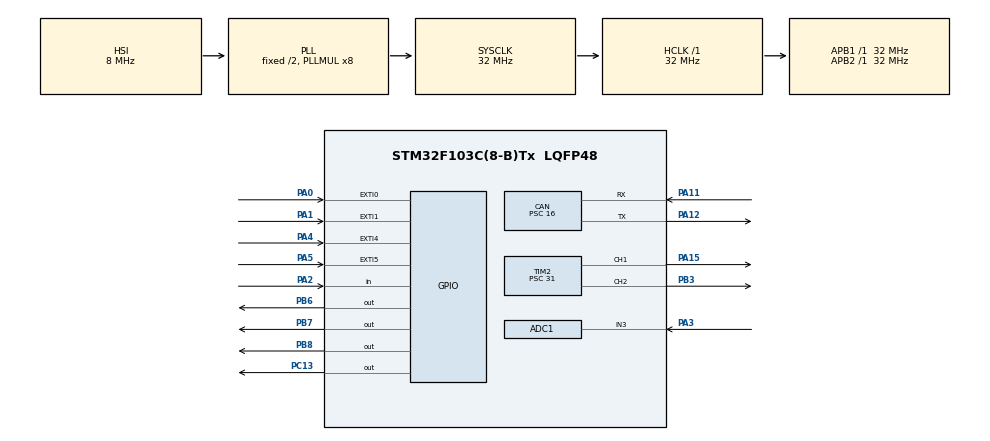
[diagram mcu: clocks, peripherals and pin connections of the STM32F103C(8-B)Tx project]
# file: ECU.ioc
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Mcu.Family=STM32F1
PA2.GPIO_PuPd=GPIO_PULLUP
NVIC.CAN1_RX1_IRQn=true\:0\:0\:false\:false\:true\:true\:true
ADC1.ContinuousConvMode=ENABLE
PA11.Mode=CAN_Activate
TIM2.Channel-PWM\ Generation2\ CH2=TIM_CHANNEL_2
RCC.SYSCLKSource=RCC_SYSCLKSOURCE_PLLCLK
ProjectManager.StackSize=0x400
PD1-OSC_OUT.Signal=RCC_OSC_OUT
NVIC.EXTI1_IRQn=true\:0\:0\:false\:false\:true\:true\:true
PA12.Signal=CAN_TX
CAN.Prescaler=16
RCC.HCLKFreq_Value=32000000
SH.ADCx_IN3.0=ADC1_IN3,IN3
RCC.APB2TimFreq_Value=32000000
PB6.Signal=GPIO_Output
PA1.GPIO_PuPd=GPIO_PULLUP
RCC.AHBFreq_Value=32000000
ADC1.Channel-0\#ChannelRegularConversion=ADC_CHANNEL_3
PA4.GPIO_PuPd=GPIO_PULLUP
RCC.PLLMUL=RCC_PLL_MUL8
PC13-TAMPER-RTC.PinState=GPIO_PIN_SET
PA14.Mode=Serial_Wire
PA5.GPIO_PuPd=GPIO_PULLUP
PB8.PinState=GPIO_PIN_SET
PB7.Signal=GPIO_Output
TIM2.Channel-PWM\ Generation1\ CH1=TIM_CHANNEL_1
TIM4.Period=499
CAN.CalculateTimeQuantum=500.0
ADC1.SamplingTime-0\#ChannelRegularConversion=ADC_SAMPLETIME_1CYCLE_5
PB7.PinState=GPIO_PIN_SET
Mcu.Package=LQFP48
TIM2.Prescaler=31
PC13-TAMPER-RTC.GPIO_PuPd=GPIO_PULLUP
PA15.Signal=S_TIM2_CH1_ETR
RCC.APB1TimFreq_Value=32000000
PA1.GPIO_ModeDefaultEXTI=GPIO_MODE_IT_FALLING
PA3.Signal=ADCx_IN3
PB7.GPIO_PuPd=GPIO_PULLUP
NVIC.EXTI4_IRQn=true\:0\:0\:false\:false\:true\:true\:true
PA5.GPIO_ModeDefaultEXTI=GPIO_MODE_IT_RISING_FALLING
ADC1.Rank-0\#ChannelRegularConversion=1
PD1-OSC_OUT.Mode=HSE-External-Oscillator
CAN.CalculateBaudRate=500000
PB6.GPIO_PuPd=GPIO_PULLUP
PB8.GPIO_PuPd=GPIO_PULLUP
PC13-TAMPER-RTC.Signal=GPIO_Output
PD0-OSC_IN.Signal=RCC_OSC_IN
CAN.CalculateTimeBit=2000.00
PA0-WKUP.GPIO_ModeDefaultEXTI=GPIO_MODE_IT_RISING_FALLING
PA0-WKUP.Signal=GPXTI0
RCC.ADCPresc=RCC_ADCPCLK2_DIV4
PA13.Signal=SYS_JTMS-SWDIO
SH.S_TIM2_CH2.0=TIM2_CH2,PWM Generation2 CH2
CAN.BS1=CAN_BS1_2TQ
ProjectManager.TargetToolchain=STM32CubeIDE
PA4.GPIO_ModeDefaultEXTI=GPIO_MODE_IT_RISING_FALLING
RCC.USBFreq_Value=32000000
TIM4.Prescaler=31999
PA1.Signal=GPXTI1
PD0-OSC_IN.Mode=HSE-External-Oscillator
PA5.Signal=GPXTI5
board=custom
RCC.APB2Freq_Value=32000000
VP_TIM2_VS_ClockSourceINT.Mode=Internal
TIM2.Period=100
PA13.Mode=Serial_Wire
Mcu.Name=STM32F103C(8-B)Tx
PA2.Signal=GPIO_Input
PB3.Signal=S_TIM2_CH2
NVIC.EXTI0_IRQn=true\:0\:0\:false\:false\:true\:true\:true
PA4.Signal=GPXTI4
RCC.SYSCLKFreq_VALUE=32000000
ADC1.master=1
PA12.Mode=CAN_Activate
PB6.PinState=GPIO_PIN_SET
PA11.Signal=CAN_RX
SH.S_TIM2_CH1_ETR.0=TIM2_CH1,PWM Generation1 CH1
NVIC.EXTI9_5_IRQn=true\:0\:0\:false\:false\:true\:true\:true
PA14.Signal=SYS_JTCK-SWCLK
ProjectManager.HeapSize=0x200
VP_TIM4_VS_ClockSourceINT.Mode=Internal
NVIC.PriorityGroup=NVIC_PRIORITYGROUP_4
ADC1.NbrOfConversionFlag=1
PB8.Signal=GPIO_Output
PA0-WKUP.GPIO_PuPd=GPIO_PULLUP
NVIC.TIM4_IRQn=true\:0\:0\:false\:false\:true\:true\:true
RCC.APB1Freq_Value=32000000

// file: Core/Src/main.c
/* USER CODE BEGIN Header */
/* USER CODE BEGIN Header */
/**
  ******************************************************************************
  * @file           : main.c
  * @brief          : Main program body
  ******************************************************************************
  * @attention
  *
  * <h2><center>&copy; Copyright (c) 2025 STMicroelectronics.
  * All rights reserved.</center></h2>
  *
  * This software component is licensed by ST under BSD 3-Clause license,
  * the "License"; You may not use this file except in compliance with the
  * License. You may obtain a copy of the License at:
  *                        opensource.org/licenses/BSD-3-Clause
  *
  ******************************************************************************
  */
/* USER CODE END Header */
#include "main.h"

/* USER CODE BEGIN PD */
#define ADC_SAMPLES     10      // Số mẫu để tính trung bình
#define ADC_THRESHOLD   5       // Ngưỡng thay đổi mới gửi CAN

#define FILTER_SIZE 10			//
/* USER CODE END PD */

ADC_HandleTypeDef hadc1;

CAN_HandleTypeDef hcan;

TIM_HandleTypeDef htim2;
TIM_HandleTypeDef htim4;

/* USER CODE BEGIN PV */
volatile uint8_t pc13_led_state = 0;
volatile int16_t brightness = 1;
const int16_t BRIGHTNESS_MIN = 0;
const int16_t BRIGHTNESS_MAX = 100;

uint32_t adc_value = 0;
uint32_t pwm_value = 0;
uint8_t led_state = 0;
uint8_t led_state3 = 0;

volatile uint8_t flag_encoder = 0;
volatile uint8_t flag_button1 = 0;
volatile uint8_t flag_button2 = 0;
volatile uint8_t flag_button3 = 0;

volatile uint16_t encoder_value = 0;
volatile uint8_t  button_value1  = 0;
volatile uint8_t  button_value2  = 1;
volatile uint8_t  button_value3  = 0;

// Lưu giá trị lần trước
static uint16_t prev_encoder_value = 0xFFFF; // khởi tạo khác giá trị thực để lần đầu vẫn gửi
static uint8_t  prev_button_value  = 0;

uint32_t last_encoder_time = 0;
uint32_t last_button_time  = 0;
uint32_t last_button2_time  = 0;
uint32_t last_button3_time  = 0;
const uint32_t debounce_delay = 10; // ms

uint16_t adc_filtered = 0;

uint16_t encoder_buffer[FILTER_SIZE] = {0};
uint8_t encoder_index = 0;
uint16_t filtered_value = 0;

uint8_t led_status_left = 0;
uint8_t led_status_right = 0;
extern TIM_HandleTypeDef htim2;
extern CAN_HandleTypeDef hcan;

/* USER CODE END PV */

void SystemClock_Config(void);
static void MX_GPIO_Init(void);
static void MX_ADC1_Init(void);
static void MX_CAN_Init(void);
static void MX_TIM2_Init(void);
static void MX_TIM4_Init(void);

/* USER CODE BEGIN 0 */
uint32_t millis(void)
{
    return HAL_GetTick();
}

void HAL_TIM_PeriodElapsedCallback(TIM_HandleTypeDef *htim)
{
    if (htim->Instance == TIM4)
    {
        if (led_state == 1)
        {
            //HAL_GPIO_TogglePin(GPIOB, GPIO_PIN_8);
            led_status_left = !led_status_left;
            flag_button1 = 1;
            if(led_status_left)
            	HAL_GPIO_WritePin(GPIOB, GPIO_PIN_8, GPIO_PIN_SET);
            else
            	HAL_GPIO_WritePin(GPIOB, GPIO_PIN_8, GPIO_PIN_RESET);
        }

        if (led_state3 == 1)
		{
			led_status_right = !led_status_right;
			flag_button3 = 1;
			if(led_status_right)
				HAL_GPIO_WritePin(GPIOB, GPIO_PIN_7, GPIO_PIN_SET);
			else
				HAL_GPIO_WritePin(GPIOB, GPIO_PIN_7, GPIO_PIN_RESET);
		}
    }
}

//ENCODER + TIMER + SWITCH INTERRUPT

void HAL_GPIO_EXTI_Callback(uint16_t GPIO_Pin)
{
	uint32_t now = millis();

    if (GPIO_Pin == GPIO_PIN_1) // PA1 = CLK
    {
    	if ((now - last_encoder_time) < debounce_delay) return;
			last_encoder_time = now;

        if (HAL_GPIO_ReadPin(GPIOA, GPIO_PIN_2) == GPIO_PIN_RESET) {
            // Quay nguoc
            if (brightness > BRIGHTNESS_MIN)
                brightness--;
        } else {
            // Quay thuan
            if (brightness < BRIGHTNESS_MAX)
                brightness++;
        }

       //Capnhap trang thai led thong qua timer2_CH1
        __HAL_TIM_SET_COMPARE(&htim2, TIM_CHANNEL_1, brightness);

        encoder_value = brightness;

        // ===== Lưu giá trị vào buffer l�?c trung bình =====
	   encoder_buffer[encoder_index] = encoder_value;
	   encoder_index = (encoder_index + 1) % FILTER_SIZE;

	   // Tính trung bình
	   uint32_t sum = 0;
	   for (uint8_t i = 0; i < FILTER_SIZE; i++) {
		   sum += encoder_buffer[i];
	   }
	   filtered_value = sum / FILTER_SIZE;

	   // Chỉ set flag khi giá trị đã l�?c thay đổi
	   if (filtered_value != prev_encoder_value) {
		   prev_encoder_value = filtered_value;
		   flag_encoder = 1; // Báo cho main loop gửi CAN
	   }

    }
    else if (GPIO_Pin == GPIO_PIN_0) // PA0 = Switch
	{
    	if ((now - last_button_time) < debounce_delay) return;
			last_button_time = now;

		uint8_t pin_state = (HAL_GPIO_ReadPin(GPIOA, GPIO_PIN_0) == GPIO_PIN_SET) ? 1 : 0;
		//HAL_Delay(50);
    	if (pin_state != prev_button_value) {
			prev_button_value = pin_state;

			if (pin_state == 1) {
				button_value1 = !button_value1;
				led_state = !led_state;
				//HAL_GPIO_WritePin(GPIOB, GPIO_PIN_8, led_state ? GPIO_PIN_RESET : GPIO_PIN_SET);

				if(!led_state)
				   HAL_GPIO_WritePin(GPIOB, GPIO_PIN_8,GPIO_PIN_RESET);
			}
			else{
				led_status_left = 0;
				flag_button1 = 1;
			}
		}
	}

    else if (GPIO_Pin == GPIO_PIN_4) // PA4 = Switch 2
    {
        if ((now - last_button2_time) < debounce_delay) return;
        last_button2_time = now;

        static uint8_t prev_button_value2 = 0;
        static uint8_t led_state2 = 0;

        uint8_t pin_state = (HAL_GPIO_ReadPin(GPIOA, GPIO_PIN_4) == GPIO_PIN_SET) ? 1 : 0;
        if (pin_state != prev_button_value2) {
            prev_button_value2 = pin_state;

            if (pin_state == 1) {
                button_value2 = !button_value2;
                led_state2 = !led_state2;
                HAL_GPIO_WritePin(GPIOB, GPIO_PIN_6, led_state2 ? GPIO_PIN_RESET : GPIO_PIN_SET);
            }

            flag_button2 = 1;
        }
    }
    else if (GPIO_Pin == GPIO_PIN_5) // PA4 = Switch 2
   {
	   if ((now - last_button3_time) < debounce_delay) return;
	   last_button3_time = now;

	   static uint8_t prev_button_value3 = 0;
	   //static uint8_t led_state3 = 0;

	   uint8_t pin_state = (HAL_GPIO_ReadPin(GPIOA, GPIO_PIN_5) == GPIO_PIN_SET) ? 1 : 0;
	   //HAL_Delay(50);
	   if (pin_state != prev_button_value3) {
		   prev_button_value3 = pin_state;

		   if (pin_state == 1) {
			   button_value3 = !button_value3;
			   led_state3 = !led_state3;
			   //HAL_GPIO_WritePin(GPIOB, GPIO_PIN_7, led_state3 ? GPIO_PIN_RESET : GPIO_PIN_SET);

			   if(!led_state3)
				   HAL_GPIO_WritePin(GPIOB, GPIO_PIN_7, GPIO_PIN_RESET);
		   }
		   else{
			led_status_right = 0;
			flag_button3 = 1;
		   }
	   }
   }
}

uint16_t Read_ADC(void){
	uint32_t sum = 0;
	    for (uint8_t i = 0; i < ADC_SAMPLES; i++) {
	        HAL_ADC_Start(&hadc1);
	        if (HAL_ADC_PollForConversion(&hadc1, 100) == HAL_OK) {
	        	adc_value = HAL_ADC_GetValue(&hadc1);

				pwm_value = (adc_value * 1000) / 4095;

				__HAL_TIM_SET_COMPARE(&htim2, TIM_CHANNEL_2, pwm_value);

	            sum += HAL_ADC_GetValue(&hadc1);
	        }
	        HAL_ADC_Stop(&hadc1);
	        HAL_Delay(2); // delay ngắn để tránh đ�?c liên tục
	    }
	    return (uint16_t)(sum / ADC_SAMPLES); // Trả v�? trung bình
}

/* USER CODE END 0 */

int main(void)
{

  /* MCU Configuration--------------------------------------------------------*/

  /* Reset of all peripherals, Initializes the Flash interface and the Systick. */
  HAL_Init();

  /* Configure the system clock */
  SystemClock_Config();

  /* Initialize all configured peripherals */
  MX_GPIO_Init();
  MX_ADC1_Init();
  MX_CAN_Init();
  MX_TIM2_Init();
  MX_TIM4_Init();
  /* USER CODE BEGIN 2 */
  HAL_TIM_PWM_Start(&htim2, TIM_CHANNEL_1); //Start PWM on TIM2 CH1
  __HAL_TIM_SET_COMPARE(&htim2, TIM_CHANNEL_1, 0);

  HAL_TIM_PWM_Start(&htim2, TIM_CHANNEL_2); // Start PWM on TIM2 CH2

  HAL_TIM_Base_Start_IT(&htim4); // Bắt đầu Timer

  HAL_CAN_Start(&hcan); // Start CAN

  CAN_TxHeaderTypeDef TxHeader;

  uint8_t TxData[8];
  uint32_t TxMailbox;

  TxHeader.IDE = CAN_ID_STD;
  TxHeader.RTR = CAN_RTR_DATA;
  static uint16_t prev_adc_value = 0xFFFF;
  /* USER CODE END 2 */

  /* Infinite loop */
  while (1)
  {

    /* USER CODE BEGIN 3 */
	  uint16_t adc_now = Read_ADC();
	  if ( (adc_now > prev_adc_value + ADC_THRESHOLD) ||
		   (adc_now < prev_adc_value - ADC_THRESHOLD) ) {

		  prev_adc_value = adc_now;

		  TxHeader.StdId = 0x101;
		  TxHeader.DLC = 2;
		  TxData[0] = (adc_now >> 8) & 0xFF;
		  TxData[1] = adc_now & 0xFF;
		  HAL_CAN_AddTxMessage(&hcan, &TxHeader, TxData, &TxMailbox);
	  }

	  // Gửi encoder nếu có flag
	  if (flag_encoder) {
		  flag_encoder = 0;
		  TxHeader.StdId = 0x100; // ID cho encoder
		  TxHeader.DLC = 2;
		  TxData[0] = (filtered_value >> 8) & 0xFF;
		  TxData[1] = filtered_value & 0xFF;
		  HAL_CAN_AddTxMessage(&hcan, &TxHeader, TxData, &TxMailbox);
	  }

	  // Gửi button nếu có flag : Xi Nhan trái
	  if (flag_button1) {
		  flag_button1 = 0;

		  TxHeader.StdId = 0x103; // ID cho button

		  TxHeader.DLC = 1;
		  //TxData[0] = button_value1;
		  TxData[0] = led_status_left;
		  HAL_CAN_AddTxMessage(&hcan, &TxHeader, TxData, &TxMailbox);
	  }

	  // Gửi button nếu có flag : �?ÈN
	  if (flag_button2) {
		  flag_button2 = 0;

		  TxHeader.StdId = 0x105; // ID cho button

		  TxHeader.DLC = 1;
		  TxData[0] = button_value2;
		  HAL_CAN_AddTxMessage(&hcan, &TxHeader, TxData, &TxMailbox);
	  }

	  // Gửi button nếu có flag : Xi Nhan Phải
	  if (flag_button3) {
		  flag_button3 = 0;

		  TxHeader.StdId = 0x104; // ID cho button

		  TxHeader.DLC = 1;
		  TxData[0] = led_status_right;
		  HAL_CAN_AddTxMessage(&hcan, &TxHeader, TxData, &TxMailbox);
	  }

	  HAL_StatusTypeDef status = HAL_CAN_AddTxMessage(&hcan, &TxHeader, TxData, &TxMailbox);
	  if (status != HAL_OK) {
		  // Blink LED để báo lỗi
		  HAL_GPIO_TogglePin(GPIOC, GPIO_PIN_13);
	  }

  }
  /* USER CODE END 3 */
}

void SystemClock_Config(void)
{
  RCC_OscInitTypeDef RCC_OscInitStruct = {0};
  RCC_ClkInitTypeDef RCC_ClkInitStruct = {0};
  RCC_PeriphCLKInitTypeDef PeriphClkInit = {0};

  /** Initializes the RCC Oscillators according to the specified parameters
  * in the RCC_OscInitTypeDef structure.
  */
  RCC_OscInitStruct.OscillatorType = RCC_OSCILLATORTYPE_HSI;
  RCC_OscInitStruct.HSIState = RCC_HSI_ON;
  RCC_OscInitStruct.HSICalibrationValue = RCC_HSICALIBRATION_DEFAULT;
  RCC_OscInitStruct.PLL.PLLState = RCC_PLL_ON;
  RCC_OscInitStruct.PLL.PLLSource = RCC_PLLSOURCE_HSI_DIV2;
  RCC_OscInitStruct.PLL.PLLMUL = RCC_PLL_MUL8;
  if (HAL_RCC_OscConfig(&RCC_OscInitStruct) != HAL_OK)
  {
    Error_Handler();
  }
  /** Initializes the CPU, AHB and APB buses clocks
  */
  RCC_ClkInitStruct.ClockType = RCC_CLOCKTYPE_HCLK|RCC_CLOCKTYPE_SYSCLK
                              |RCC_CLOCKTYPE_PCLK1|RCC_CLOCKTYPE_PCLK2;
  RCC_ClkInitStruct.SYSCLKSource = RCC_SYSCLKSOURCE_PLLCLK;
  RCC_ClkInitStruct.AHBCLKDivider = RCC_SYSCLK_DIV1;
  RCC_ClkInitStruct.APB1CLKDivider = RCC_HCLK_DIV1;
  RCC_ClkInitStruct.APB2CLKDivider = RCC_HCLK_DIV1;

  if (HAL_RCC_ClockConfig(&RCC_ClkInitStruct, FLASH_LATENCY_1) != HAL_OK)
  {
    Error_Handler();
  }
  PeriphClkInit.PeriphClockSelection = RCC_PERIPHCLK_ADC;
  PeriphClkInit.AdcClockSelection = RCC_ADCPCLK2_DIV4;
  if (HAL_RCCEx_PeriphCLKConfig(&PeriphClkInit) != HAL_OK)
  {
    Error_Handler();
  }
}

static void MX_ADC1_Init(void)
{

  ADC_ChannelConfTypeDef sConfig = {0};

  /** Common config
  */
  hadc1.Instance = ADC1;
  hadc1.Init.ScanConvMode = ADC_SCAN_DISABLE;
  hadc1.Init.ContinuousConvMode = ENABLE;
  hadc1.Init.DiscontinuousConvMode = DISABLE;
  hadc1.Init.ExternalTrigConv = ADC_SOFTWARE_START;
  hadc1.Init.DataAlign = ADC_DATAALIGN_RIGHT;
  hadc1.Init.NbrOfConversion = 1;
  if (HAL_ADC_Init(&hadc1) != HAL_OK)
  {
    Error_Handler();
  }
  /** Configure Regular Channel
  */
  sConfig.Channel = ADC_CHANNEL_3;
  sConfig.Rank = ADC_REGULAR_RANK_1;
  sConfig.SamplingTime = ADC_SAMPLETIME_1CYCLE_5;
  if (HAL_ADC_ConfigChannel(&hadc1, &sConfig) != HAL_OK)
  {
    Error_Handler();
  }

}

static void MX_CAN_Init(void)
{

  hcan.Instance = CAN1;
  hcan.Init.Prescaler = 16;
  hcan.Init.Mode = CAN_MODE_NORMAL;
  hcan.Init.SyncJumpWidth = CAN_SJW_1TQ;
  hcan.Init.TimeSeg1 = CAN_BS1_2TQ;
  hcan.Init.TimeSeg2 = CAN_BS2_1TQ;
  hcan.Init.TimeTriggeredMode = DISABLE;
  hcan.Init.AutoBusOff = DISABLE;
  hcan.Init.AutoWakeUp = DISABLE;
  hcan.Init.AutoRetransmission = DISABLE;
  hcan.Init.ReceiveFifoLocked = DISABLE;
  hcan.Init.TransmitFifoPriority = DISABLE;
  if (HAL_CAN_Init(&hcan) != HAL_OK)
  {
    Error_Handler();
  }
  /* USER CODE BEGIN CAN_Init 2 */

  CAN_FilterTypeDef sFilterConfig;
  sFilterConfig.FilterBank = 0;
  sFilterConfig.FilterMode = CAN_FILTERMODE_IDMASK;
  sFilterConfig.FilterScale = CAN_FILTERSCALE_32BIT;
  sFilterConfig.FilterIdHigh = 0x0000;
  sFilterConfig.FilterIdLow = 0x0000;
  sFilterConfig.FilterMaskIdHigh = 0x0000;
  sFilterConfig.FilterMaskIdLow = 0x0000;
  sFilterConfig.FilterFIFOAssignment = CAN_RX_FIFO0;
  sFilterConfig.FilterActivation = ENABLE;
  sFilterConfig.SlaveStartFilterBank = 14;

  HAL_CAN_ConfigFilter(&hcan, &sFilterConfig);

  /* USER CODE END CAN_Init 2 */

}

static void MX_TIM2_Init(void)
{

  TIM_ClockConfigTypeDef sClockSourceConfig = {0};
  TIM_MasterConfigTypeDef sMasterConfig = {0};
  TIM_OC_InitTypeDef sConfigOC = {0};

  htim2.Instance = TIM2;
  htim2.Init.Prescaler = 31;
  htim2.Init.CounterMode = TIM_COUNTERMODE_UP;
  htim2.Init.Period = 100;
  htim2.Init.ClockDivision = TIM_CLOCKDIVISION_DIV1;
  htim2.Init.AutoReloadPreload = TIM_AUTORELOAD_PRELOAD_DISABLE;
  if (HAL_TIM_Base_Init(&htim2) != HAL_OK)
  {
    Error_Handler();
  }
  sClockSourceConfig.ClockSource = TIM_CLOCKSOURCE_INTERNAL;
  if (HAL_TIM_ConfigClockSource(&htim2, &sClockSourceConfig) != HAL_OK)
  {
    Error_Handler();
  }
  if (HAL_TIM_PWM_Init(&htim2) != HAL_OK)
  {
    Error_Handler();
  }
  sMasterConfig.MasterOutputTrigger = TIM_TRGO_RESET;
  sMasterConfig.MasterSlaveMode = TIM_MASTERSLAVEMODE_DISABLE;
  if (HAL_TIMEx_MasterConfigSynchronization(&htim2, &sMasterConfig) != HAL_OK)
  {
    Error_Handler();
  }
  sConfigOC.OCMode = TIM_OCMODE_PWM1;
  sConfigOC.Pulse = 0;
  sConfigOC.OCPolarity = TIM_OCPOLARITY_HIGH;
  sConfigOC.OCFastMode = TIM_OCFAST_DISABLE;
  if (HAL_TIM_PWM_ConfigChannel(&htim2, &sConfigOC, TIM_CHANNEL_1) != HAL_OK)
  {
    Error_Handler();
  }
  if (HAL_TIM_PWM_ConfigChannel(&htim2, &sConfigOC, TIM_CHANNEL_2) != HAL_OK)
  {
    Error_Handler();
  }
  HAL_TIM_MspPostInit(&htim2);

}

static void MX_TIM4_Init(void)
{

  TIM_ClockConfigTypeDef sClockSourceConfig = {0};
  TIM_MasterConfigTypeDef sMasterConfig = {0};

  htim4.Instance = TIM4;
  htim4.Init.Prescaler = 31999;
  htim4.Init.CounterMode = TIM_COUNTERMODE_UP;
  htim4.Init.Period = 499;
  htim4.Init.ClockDivision = TIM_CLOCKDIVISION_DIV1;
  htim4.Init.AutoReloadPreload = TIM_AUTORELOAD_PRELOAD_DISABLE;
  if (HAL_TIM_Base_Init(&htim4) != HAL_OK)
  {
    Error_Handler();
  }
  sClockSourceConfig.ClockSource = TIM_CLOCKSOURCE_INTERNAL;
  if (HAL_TIM_ConfigClockSource(&htim4, &sClockSourceConfig) != HAL_OK)
  {
    Error_Handler();
  }
  sMasterConfig.MasterOutputTrigger = TIM_TRGO_RESET;
  sMasterConfig.MasterSlaveMode = TIM_MASTERSLAVEMODE_DISABLE;
  if (HAL_TIMEx_MasterConfigSynchronization(&htim4, &sMasterConfig) != HAL_OK)
  {
    Error_Handler();
  }

}

static void MX_GPIO_Init(void)
{
  GPIO_InitTypeDef GPIO_InitStruct = {0};

  /* GPIO Ports Clock Enable */
  __HAL_RCC_GPIOC_CLK_ENABLE();
  __HAL_RCC_GPIOD_CLK_ENABLE();
  __HAL_RCC_GPIOA_CLK_ENABLE();
  __HAL_RCC_GPIOB_CLK_ENABLE();

  /*Configure GPIO pin Output Level */
  HAL_GPIO_WritePin(GPIOC, GPIO_PIN_13, GPIO_PIN_SET);

  /*Configure GPIO pin Output Level */
  HAL_GPIO_WritePin(GPIOB, GPIO_PIN_6|GPIO_PIN_7|GPIO_PIN_8, GPIO_PIN_SET);

  /*Configure GPIO pin : PC13 */
  GPIO_InitStruct.Pin = GPIO_PIN_13;
  GPIO_InitStruct.Mode = GPIO_MODE_OUTPUT_PP;
  GPIO_InitStruct.Pull = GPIO_PULLUP;
  GPIO_InitStruct.Speed = GPIO_SPEED_FREQ_LOW;
  HAL_GPIO_Init(GPIOC, &GPIO_InitStruct);

  /*Configure GPIO pins : PA0 PA4 PA5 */
  GPIO_InitStruct.Pin = GPIO_PIN_0|GPIO_PIN_4|GPIO_PIN_5;
  GPIO_InitStruct.Mode = GPIO_MODE_IT_RISING_FALLING;
  GPIO_InitStruct.Pull = GPIO_PULLUP;
  HAL_GPIO_Init(GPIOA, &GPIO_InitStruct);

  /*Configure GPIO pin : PA1 */
  GPIO_InitStruct.Pin = GPIO_PIN_1;
  GPIO_InitStruct.Mode = GPIO_MODE_IT_FALLING;
  GPIO_InitStruct.Pull = GPIO_PULLUP;
  HAL_GPIO_Init(GPIOA, &GPIO_InitStruct);

  /*Configure GPIO pin : PA2 */
  GPIO_InitStruct.Pin = GPIO_PIN_2;
  GPIO_InitStruct.Mode = GPIO_MODE_INPUT;
  GPIO_InitStruct.Pull = GPIO_PULLUP;
  HAL_GPIO_Init(GPIOA, &GPIO_InitStruct);

  /*Configure GPIO pins : PB6 PB7 PB8 */
  GPIO_InitStruct.Pin = GPIO_PIN_6|GPIO_PIN_7|GPIO_PIN_8;
  GPIO_InitStruct.Mode = GPIO_MODE_OUTPUT_PP;
  GPIO_InitStruct.Pull = GPIO_PULLUP;
  GPIO_InitStruct.Speed = GPIO_SPEED_FREQ_LOW;
  HAL_GPIO_Init(GPIOB, &GPIO_InitStruct);

  /* EXTI interrupt init*/
  HAL_NVIC_SetPriority(EXTI0_IRQn, 0, 0);
  HAL_NVIC_EnableIRQ(EXTI0_IRQn);

  HAL_NVIC_SetPriority(EXTI1_IRQn, 0, 0);
  HAL_NVIC_EnableIRQ(EXTI1_IRQn);

  HAL_NVIC_SetPriority(EXTI4_IRQn, 0, 0);
  HAL_NVIC_EnableIRQ(EXTI4_IRQn);

  HAL_NVIC_SetPriority(EXTI9_5_IRQn, 0, 0);
  HAL_NVIC_EnableIRQ(EXTI9_5_IRQn);

}

void Error_Handler(void)
{
  __disable_irq();
  while (1)
  {
  }
}

/************************ (C) COPYRIGHT STMicroelectronics *****END OF FILE****/
